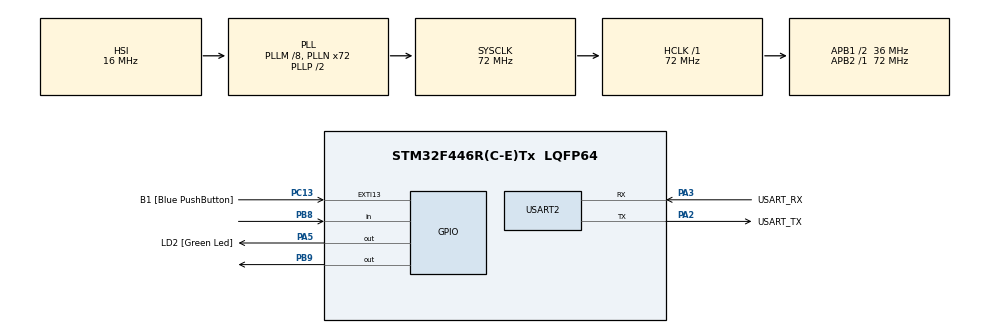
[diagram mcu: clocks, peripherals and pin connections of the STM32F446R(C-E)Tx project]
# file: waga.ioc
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Mcu.Family=STM32F4
Mcu.Name=STM32F446R(C-E)Tx
Mcu.Package=LQFP64
NVIC.PriorityGroup=NVIC_PRIORITYGROUP_0
PA13.GPIO_Label=TMS
PA13.Mode=Serial_Wire
PA13.Signal=SYS_JTMS-SWDIO
PA14.GPIO_Label=TCK
PA14.Mode=Serial_Wire
PA14.Signal=SYS_JTCK-SWCLK
PA2.GPIO_Label=USART_TX
PA2.Mode=Asynchronous
PA2.Signal=USART2_TX
PA3.GPIO_Label=USART_RX
PA3.Mode=Asynchronous
PA3.Signal=USART2_RX
PA5.GPIO_Label=LD2 [Green Led]
PA5.Signal=GPIO_Output
PB3.GPIO_Label=SWO
PB3.Signal=SYS_JTDO-SWO
PB8.Signal=GPIO_Input
PB9.Signal=GPIO_Output
PC13.GPIO_Label=B1 [Blue PushButton]
PC13.GPIO_ModeDefaultEXTI=GPIO_MODE_IT_FALLING
PC13.Signal=GPXTI13
PC14-OSC32_IN.Signal=RCC_OSC32_IN
PC15-OSC32_OUT.Signal=RCC_OSC32_OUT
PH0-OSC_IN.Mode=HSE-External-Oscillator
PH0-OSC_IN.Signal=RCC_OSC_IN
PH1-OSC_OUT.Mode=HSE-External-Oscillator
PH1-OSC_OUT.Signal=RCC_OSC_OUT
ProjectManager.HeapSize=0x200
ProjectManager.StackSize=0x400
ProjectManager.TargetToolchain=STM32CubeIDE
RCC.48MHZClocksFreq_Value=84000000
RCC.AHBFreq_Value=72000000
RCC.APB1CLKDivider=RCC_HCLK_DIV2
RCC.APB1Freq_Value=36000000
RCC.APB1TimFreq_Value=72000000
RCC.APB2Freq_Value=72000000
RCC.APB2TimFreq_Value=72000000
RCC.CortexFreq_Value=72000000
RCC.FLatency-AdvancedSettings=FLASH_LATENCY_2
RCC.HCLKFreq_Value=72000000
RCC.HSE_VALUE=8000000
RCC.HSI_VALUE=16000000
RCC.PLLM=8
RCC.PLLN=72
RCC.SYSCLKFreq_VALUE=72000000
RCC.SYSCLKSource=RCC_SYSCLKSOURCE_PLLCLK
RCC.USBFreq_Value=72000000
RCC.VCOOutputFreq_Value=144000000
TIM2.Prescaler=71
USART2.VirtualMode=VM_ASYNC
VP_TIM2_VS_ClockSourceINT.Mode=Internal
board=NUCLEO-F446RE

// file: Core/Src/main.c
/* USER CODE BEGIN Header */
/**
  ******************************************************************************
  * @file           : main.c
  * @brief          : Main program body
  ******************************************************************************
  * @attention
  *
  * Copyright (c) 2025 STMicroelectronics.
  * All rights reserved.
  *
  * This software is licensed under terms that can be found in the LICENSE file
  * in the root directory of this software component.
  * If no LICENSE file comes with this software, it is provided AS-IS.
  *
  ******************************************************************************
  */
/* USER CODE END Header */
#include "main.h"

TIM_HandleTypeDef htim2;

UART_HandleTypeDef huart2;

void SystemClock_Config(void);
static void MX_GPIO_Init(void);
static void MX_USART2_UART_Init(void);
static void MX_TIM2_Init(void);

/* USER CODE BEGIN 0 */
#define DT_PIN GPIO_PIN_8
#define DT_PORT GPIOB
#define SCK_PIN GPIO_PIN_9
#define SCK_PORT GPIOB

uint32_t tare = 8554506; //waga pusta
float knownOriginal = 100000;  // w miligramach
float knownHX711 = (168128+169471+169499+177661)/4; //waga ze znanym obciążeniem
int weight;

void microDelay(uint16_t delay)
{
  __HAL_TIM_SET_COUNTER(&htim2, 0);
  while (__HAL_TIM_GET_COUNTER(&htim2) < delay);
}

int32_t getHX711(void)
{
  uint32_t data = 0;
  uint32_t startTime = HAL_GetTick();
  while(HAL_GPIO_ReadPin(DT_PORT, DT_PIN) == GPIO_PIN_SET)
  {
    if(HAL_GetTick() - startTime > 200)
      return 0;
  }
  for(int8_t len=0; len<24 ; len++)
  {
    HAL_GPIO_WritePin(SCK_PORT, SCK_PIN, GPIO_PIN_SET);
    microDelay(1);
    data = data << 1;
    HAL_GPIO_WritePin(SCK_PORT, SCK_PIN, GPIO_PIN_RESET);
    microDelay(1);
    if(HAL_GPIO_ReadPin(DT_PORT, DT_PIN) == GPIO_PIN_SET)
      data ++;
  }
  data = data ^ 0x800000;
  HAL_GPIO_WritePin(SCK_PORT, SCK_PIN, GPIO_PIN_SET);
  microDelay(1);
  HAL_GPIO_WritePin(SCK_PORT, SCK_PIN, GPIO_PIN_RESET);
  microDelay(1);
  return data;
}

int weigh()
{
  int32_t  total = 0;
  int32_t  samples = 100;
  int milligram;
  float coefficient;
  for(uint16_t i=0 ; i<samples ; i++)
  {
      total += getHX711();
  }
  int32_t average = (int32_t)(total / samples);
  coefficient = knownOriginal / knownHX711;
  milligram = (int)(average-tare)*coefficient;
  return milligram;
}

/* USER CODE END 0 */

int main(void)
{

  /* MCU Configuration--------------------------------------------------------*/

  /* Reset of all peripherals, Initializes the Flash interface and the Systick. */
  HAL_Init();

  /* Configure the system clock */
  SystemClock_Config();

  /* Initialize all configured peripherals */
  MX_GPIO_Init();
  MX_USART2_UART_Init();
  MX_TIM2_Init();
  /* USER CODE BEGIN 2 */
  HAL_TIM_Base_Start(&htim2);
  HAL_GPIO_WritePin(SCK_PORT, SCK_PIN, GPIO_PIN_SET);
  HAL_Delay(10);
  HAL_GPIO_WritePin(SCK_PORT, SCK_PIN, GPIO_PIN_RESET);
  HAL_Delay(10);

  /* USER CODE END 2 */

  /* Infinite loop */
  /* USER CODE BEGIN WHILE */
  while (1)
  {
	  weight = weigh(); //masa ważonego obiektu
    /* USER CODE END WHILE */

  }
}

void SystemClock_Config(void)
{
  RCC_OscInitTypeDef RCC_OscInitStruct = {0};
  RCC_ClkInitTypeDef RCC_ClkInitStruct = {0};

  /** Configure the main internal regulator output voltage
  */
  __HAL_RCC_PWR_CLK_ENABLE();
  __HAL_PWR_VOLTAGESCALING_CONFIG(PWR_REGULATOR_VOLTAGE_SCALE3);

  /** Initializes the RCC Oscillators according to the specified parameters
  * in the RCC_OscInitTypeDef structure.
  */
  RCC_OscInitStruct.OscillatorType = RCC_OSCILLATORTYPE_HSI;
  RCC_OscInitStruct.HSIState = RCC_HSI_ON;
  RCC_OscInitStruct.HSICalibrationValue = RCC_HSICALIBRATION_DEFAULT;
  RCC_OscInitStruct.PLL.PLLState = RCC_PLL_ON;
  RCC_OscInitStruct.PLL.PLLSource = RCC_PLLSOURCE_HSI;
  RCC_OscInitStruct.PLL.PLLM = 8;
  RCC_OscInitStruct.PLL.PLLN = 72;
  RCC_OscInitStruct.PLL.PLLP = RCC_PLLP_DIV2;
  RCC_OscInitStruct.PLL.PLLQ = 2;
  RCC_OscInitStruct.PLL.PLLR = 2;
  if (HAL_RCC_OscConfig(&RCC_OscInitStruct) != HAL_OK)
  {
    Error_Handler();
  }

  /** Initializes the CPU, AHB and APB buses clocks
  */
  RCC_ClkInitStruct.ClockType = RCC_CLOCKTYPE_HCLK|RCC_CLOCKTYPE_SYSCLK
                              |RCC_CLOCKTYPE_PCLK1|RCC_CLOCKTYPE_PCLK2;
  RCC_ClkInitStruct.SYSCLKSource = RCC_SYSCLKSOURCE_PLLCLK;
  RCC_ClkInitStruct.AHBCLKDivider = RCC_SYSCLK_DIV1;
  RCC_ClkInitStruct.APB1CLKDivider = RCC_HCLK_DIV2;
  RCC_ClkInitStruct.APB2CLKDivider = RCC_HCLK_DIV1;

  if (HAL_RCC_ClockConfig(&RCC_ClkInitStruct, FLASH_LATENCY_2) != HAL_OK)
  {
    Error_Handler();
  }
}

static void MX_TIM2_Init(void)
{

  TIM_ClockConfigTypeDef sClockSourceConfig = {0};
  TIM_MasterConfigTypeDef sMasterConfig = {0};

  htim2.Instance = TIM2;
  htim2.Init.Prescaler = 71;
  htim2.Init.CounterMode = TIM_COUNTERMODE_UP;
  htim2.Init.Period = 4294967295;
  htim2.Init.ClockDivision = TIM_CLOCKDIVISION_DIV1;
  htim2.Init.AutoReloadPreload = TIM_AUTORELOAD_PRELOAD_DISABLE;
  if (HAL_TIM_Base_Init(&htim2) != HAL_OK)
  {
    Error_Handler();
  }
  sClockSourceConfig.ClockSource = TIM_CLOCKSOURCE_INTERNAL;
  if (HAL_TIM_ConfigClockSource(&htim2, &sClockSourceConfig) != HAL_OK)
  {
    Error_Handler();
  }
  sMasterConfig.MasterOutputTrigger = TIM_TRGO_RESET;
  sMasterConfig.MasterSlaveMode = TIM_MASTERSLAVEMODE_DISABLE;
  if (HAL_TIMEx_MasterConfigSynchronization(&htim2, &sMasterConfig) != HAL_OK)
  {
    Error_Handler();
  }

}

static void MX_USART2_UART_Init(void)
{

  huart2.Instance = USART2;
  huart2.Init.BaudRate = 115200;
  huart2.Init.WordLength = UART_WORDLENGTH_8B;
  huart2.Init.StopBits = UART_STOPBITS_1;
  huart2.Init.Parity = UART_PARITY_NONE;
  huart2.Init.Mode = UART_MODE_TX_RX;
  huart2.Init.HwFlowCtl = UART_HWCONTROL_NONE;
  huart2.Init.OverSampling = UART_OVERSAMPLING_16;
  if (HAL_UART_Init(&huart2) != HAL_OK)
  {
    Error_Handler();
  }

}

static void MX_GPIO_Init(void)
{
  GPIO_InitTypeDef GPIO_InitStruct = {0};

  /* GPIO Ports Clock Enable */
  __HAL_RCC_GPIOC_CLK_ENABLE();
  __HAL_RCC_GPIOH_CLK_ENABLE();
  __HAL_RCC_GPIOA_CLK_ENABLE();
  __HAL_RCC_GPIOB_CLK_ENABLE();

  /*Configure GPIO pin Output Level */
  HAL_GPIO_WritePin(LD2_GPIO_Port, LD2_Pin, GPIO_PIN_RESET);

  /*Configure GPIO pin Output Level */
  HAL_GPIO_WritePin(GPIOB, GPIO_PIN_9, GPIO_PIN_RESET);

  /*Configure GPIO pin : B1_Pin */
  GPIO_InitStruct.Pin = B1_Pin;
  GPIO_InitStruct.Mode = GPIO_MODE_IT_FALLING;
  GPIO_InitStruct.Pull = GPIO_NOPULL;
  HAL_GPIO_Init(B1_GPIO_Port, &GPIO_InitStruct);

  /*Configure GPIO pin : LD2_Pin */
  GPIO_InitStruct.Pin = LD2_Pin;
  GPIO_InitStruct.Mode = GPIO_MODE_OUTPUT_PP;
  GPIO_InitStruct.Pull = GPIO_NOPULL;
  GPIO_InitStruct.Speed = GPIO_SPEED_FREQ_LOW;
  HAL_GPIO_Init(LD2_GPIO_Port, &GPIO_InitStruct);

  /*Configure GPIO pin : PB8 */
  GPIO_InitStruct.Pin = GPIO_PIN_8;
  GPIO_InitStruct.Mode = GPIO_MODE_INPUT;
  GPIO_InitStruct.Pull = GPIO_NOPULL;
  HAL_GPIO_Init(GPIOB, &GPIO_InitStruct);

  /*Configure GPIO pin : PB9 */
  GPIO_InitStruct.Pin = GPIO_PIN_9;
  GPIO_InitStruct.Mode = GPIO_MODE_OUTPUT_PP;
  GPIO_InitStruct.Pull = GPIO_NOPULL;
  GPIO_InitStruct.Speed = GPIO_SPEED_FREQ_LOW;
  HAL_GPIO_Init(GPIOB, &GPIO_InitStruct);

}

void Error_Handler(void)
{
  __disable_irq();
  while (1)
  {
  }
}
